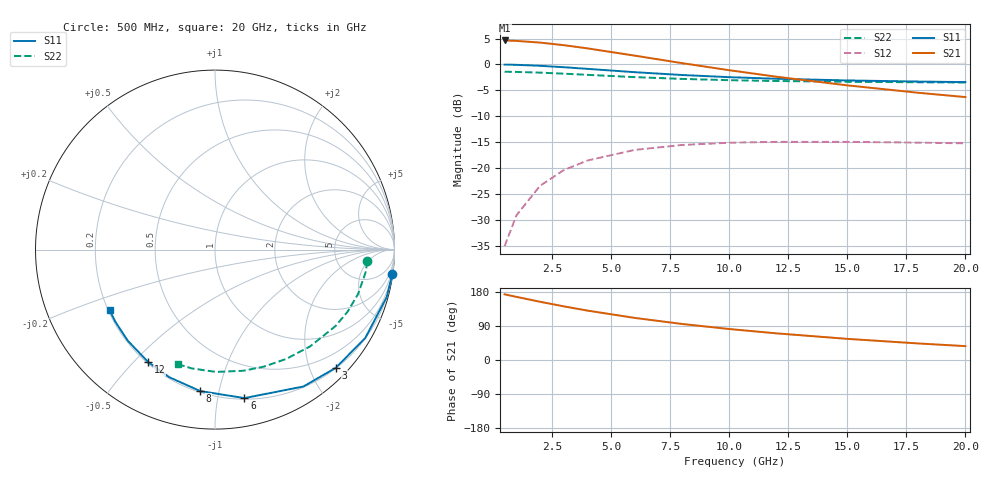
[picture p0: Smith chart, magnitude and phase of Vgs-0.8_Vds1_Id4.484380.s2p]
# Hz S RI R 50
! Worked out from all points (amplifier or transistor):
!   12 points, 500 MHz to 20 GHz, reference 50 ohm
!   highest |S21| = 4.6 dB at 500 MHz (marker M1)
!   |S21| within 3 dB of that: start of sweep to 6.114 GHz
!   unconditionally stable (mu >= 1): 13.04 GHz to end of sweep
!   at 2 GHz: K = 0.14, MSG = 13.8 dB, |S12| = -23.3 dB
!   at 8 GHz: K = 0.58, MSG = 7.9 dB, |S12| = -15.5 dB
!   at 20 GHz: K = 1.70, MAG = -0.4 dB, |S12| = -15.2 dB
!   S11 on the Smith chart (normalised r, x): 500 MHz: 0, -15; 3 GHz: 0.21, -2.44; 6 GHz: 0.21, -1.20; 8 GHz: 0.21, -0.88; 12 GHz: 0.21, -0.55; 20 GHz: 0.21, -0.25
5e8  0.9889 -0.1352  -1.691 0.1993  0.00174 0.0178  0.8494 -0.0649
1e9  0.9563 -0.2651  -1.641 0.3902  0.00681 0.0347  0.8384 -0.1284
2e9  0.8376 -0.4921  -1.456 0.7197  0.0252 0.0632  0.7979 -0.2457
3e9  0.673 -0.6586  -1.202 0.9533  0.0504 0.082  0.7394 -0.3452
4e9  0.4928 -0.7627  -0.9275 1.088  0.0774 0.0906  0.6715 -0.4259
6e9  0.164 -0.8274  -0.4387 1.135  0.124 0.0857  0.5303 -0.5391
8e9  -0.0824 -0.7882  -0.0928 1.027  0.1547 0.0657  0.3964 -0.6093
1e10  -0.2538 -0.7114  0.1259 0.8723  0.1716 0.0423  0.2732 -0.6518
1.2e10  -0.3723 -0.6267  0.2568 0.7184  0.1791 0.0202  0.1595 -0.6749
1.5e10  -0.4873 -0.5061  0.3541 0.521  0.1801 -0.00731  0.00528 -0.6815
1.8e10  -0.5569 -0.3994  0.3867 0.3693  0.1749 -0.0281  -0.129 -0.6621
2e10  -0.5876 -0.3357  0.39 0.2899  0.17 -0.0388  -0.2076 -0.6384
